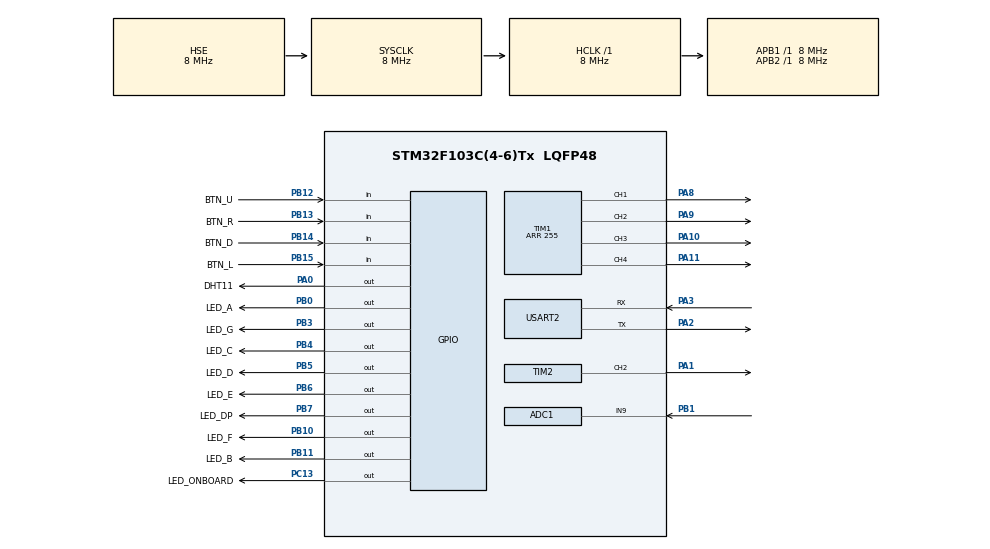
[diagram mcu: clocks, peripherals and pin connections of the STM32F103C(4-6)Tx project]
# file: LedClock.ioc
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ADC1.Channel-3\#ChannelRegularConversion=ADC_CHANNEL_9
ADC1.NbrOfConversionFlag=1
ADC1.Rank-3\#ChannelRegularConversion=1
ADC1.SamplingTime-3\#ChannelRegularConversion=ADC_SAMPLETIME_1CYCLE_5
ADC1.master=1
IWDG.Prescaler=IWDG_PRESCALER_64
IWDG.Reload=625
Mcu.Family=STM32F1
Mcu.Name=STM32F103C(4-6)Tx
Mcu.Package=LQFP48
NVIC.ADC1_2_IRQn=true\:0\:0\:false\:false\:true\:true\:true
NVIC.PriorityGroup=NVIC_PRIORITYGROUP_4
NVIC.RTC_IRQn=true\:0\:0\:false\:false\:true\:true\:true
NVIC.USART2_IRQn=true\:0\:0\:false\:false\:true\:true\:true
PA0-WKUP.GPIO_Label=DHT11
PA0-WKUP.GPIO_Speed=GPIO_SPEED_FREQ_HIGH
PA0-WKUP.Signal=GPIO_Output
PA1.Signal=S_TIM2_CH2
PA10.Signal=S_TIM1_CH3
PA11.Signal=S_TIM1_CH4
PA13.Mode=Serial_Wire
PA13.Signal=SYS_JTMS-SWDIO
PA14.Mode=Serial_Wire
PA14.Signal=SYS_JTCK-SWCLK
PA2.Mode=Asynchronous
PA2.Signal=USART2_TX
PA3.Mode=Asynchronous
PA3.Signal=USART2_RX
PA8.Signal=S_TIM1_CH1
PA9.Signal=S_TIM1_CH2
PB0.GPIO_Label=LED_A
PB0.Signal=GPIO_Output
PB1.Signal=ADCx_IN9
PB10.GPIO_Label=LED_F
PB10.Signal=GPIO_Output
PB11.GPIO_Label=LED_B
PB11.Signal=GPIO_Output
PB12.GPIO_Label=BTN_U
PB12.GPIO_Mode=GPIO_MODE_INPUT
PB12.GPIO_PuPd=GPIO_PULLUP
PB12.Signal=GPIO_Input
PB13.GPIO_Label=BTN_R
PB13.GPIO_Mode=GPIO_MODE_INPUT
PB13.GPIO_PuPd=GPIO_PULLUP
PB13.Signal=GPIO_Input
PB14.GPIO_Label=BTN_D
PB14.GPIO_Mode=GPIO_MODE_INPUT
PB14.GPIO_PuPd=GPIO_PULLUP
PB14.Signal=GPIO_Input
PB15.GPIO_Label=BTN_L
PB15.GPIO_Mode=GPIO_MODE_INPUT
PB15.GPIO_PuPd=GPIO_PULLUP
PB15.Signal=GPIO_Input
PB3.GPIO_Label=LED_G
PB3.Signal=GPIO_Output
PB4.GPIO_Label=LED_C
PB4.Signal=GPIO_Output
PB5.GPIO_Label=LED_D
PB5.Signal=GPIO_Output
PB6.GPIO_Label=LED_E
PB6.Signal=GPIO_Output
PB7.GPIO_Label=LED_DP
PB7.Signal=GPIO_Output
PC13-TAMPER-RTC.GPIO_Label=LED_ONBOARD
PC13-TAMPER-RTC.PinState=GPIO_PIN_RESET
PC13-TAMPER-RTC.Signal=GPIO_Output
PC14-OSC32_IN.Mode=LSE-External-Oscillator
PC14-OSC32_IN.Signal=RCC_OSC32_IN
PC15-OSC32_OUT.Mode=LSE-External-Oscillator
PC15-OSC32_OUT.Signal=RCC_OSC32_OUT
PD0-OSC_IN.Mode=HSE-External-Oscillator
PD0-OSC_IN.Signal=RCC_OSC_IN
PD1-OSC_OUT.Mode=HSE-External-Oscillator
PD1-OSC_OUT.Signal=RCC_OSC_OUT
ProjectManager.HeapSize=0x200
ProjectManager.StackSize=0x400
ProjectManager.TargetToolchain=Makefile
RCC.AHBFreq_Value=8000000
RCC.APB1Freq_Value=8000000
RCC.APB1TimFreq_Value=8000000
RCC.APB2Freq_Value=8000000
RCC.APB2TimFreq_Value=8000000
RCC.HCLKFreq_Value=8000000
RCC.RTCClockSelection=RCC_RTCCLKSOURCE_LSE
RCC.SYSCLKFreq_VALUE=8000000
RCC.SYSCLKSource=RCC_SYSCLKSOURCE_HSE
RCC.USBFreq_Value=8000000
RTC.Date=9
RTC.Hours=6
RTC.Minutes=30
RTC.OutPut=RTC_OUTPUTSOURCE_SECOND
RTC.Year=21
SH.ADCx_IN9.0=ADC1_IN9,IN9
SH.S_TIM1_CH1.0=TIM1_CH1,PWM Generation1 CH1
SH.S_TIM1_CH2.0=TIM1_CH2,PWM Generation2 CH2
SH.S_TIM1_CH3.0=TIM1_CH3,PWM Generation3 CH3
SH.S_TIM1_CH4.0=TIM1_CH4,PWM Generation4 CH4
SH.S_TIM2_CH2.0=TIM2_CH2,PWM Generation2 CH2
TIM1.Channel-PWM\ Generation1\ CH1=TIM_CHANNEL_1
TIM1.Channel-PWM\ Generation2\ CH2=TIM_CHANNEL_2
TIM1.Channel-PWM\ Generation3\ CH3=TIM_CHANNEL_3
TIM1.Channel-PWM\ Generation4\ CH4=TIM_CHANNEL_4
TIM1.OCIdleState_1=TIM_OCIDLESTATE_SET
TIM1.OCIdleState_2=TIM_OCIDLESTATE_SET
TIM1.OCIdleState_3=TIM_OCIDLESTATE_SET
TIM1.OCIdleState_4=TIM_OCIDLESTATE_SET
TIM1.OCMode_PWM-PWM\ Generation1\ CH1=TIM_OCMODE_PWM1
TIM1.OCMode_PWM-PWM\ Generation2\ CH2=TIM_OCMODE_PWM1
TIM1.OCMode_PWM-PWM\ Generation3\ CH3=TIM_OCMODE_PWM1
TIM1.OCMode_PWM-PWM\ Generation4\ CH4=TIM_OCMODE_PWM1
TIM1.OCPolarity_1=TIM_OCPOLARITY_HIGH
TIM1.OCPolarity_2=TIM_OCPOLARITY_HIGH
TIM1.OCPolarity_3=TIM_OCPOLARITY_HIGH
TIM1.OCPolarity_4=TIM_OCPOLARITY_HIGH
TIM1.Period=255
TIM1.Pulse-PWM\ Generation1\ CH1=255
TIM1.Pulse-PWM\ Generation2\ CH2=255
TIM1.Pulse-PWM\ Generation3\ CH3=255
TIM1.Pulse-PWM\ Generation4\ CH4=255
TIM2.Channel-PWM\ Generation2\ CH2=TIM_CHANNEL_2
TIM2.Period=0xc00
TIM2.Pulse-PWM\ Generation2\ CH2=0x600
TIM3.Period=1000
TIM3.Prescaler=8000-1
USART2.VirtualMode=VM_ASYNC
VP_IWDG_VS_IWDG.Mode=IWDG_Activate
VP_RTC_VS_RTC_Activate.Mode=RTC_Enabled
VP_RTC_VS_RTC_Calendar.Mode=RTC_Calendar
VP_TIM3_VS_ClockSourceINT.Mode=Internal
board=custom

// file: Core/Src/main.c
/* USER CODE BEGIN Header */
/**
 ******************************************************************************
 * @file           : main.c
 * @brief          : Main program body
 ******************************************************************************
 * @attention
 *
 * <h2><center>&copy; Copyright (c) 2021 STMicroelectronics.
 * All rights reserved.</center></h2>
 *
 * This software component is licensed by ST under BSD 3-Clause license,
 * the "License"; You may not use this file except in compliance with the
 * License. You may obtain a copy of the License at:
 *                        opensource.org/licenses/BSD-3-Clause
 *
 ******************************************************************************
 */
/* USER CODE END Header */
#include "main.h"
#include "adc.h"
#include "iwdg.h"
#include "rtc.h"
#include "tim.h"
#include "usart.h"
#include "gpio.h"

/* USER CODE BEGIN Includes */
#include <string.h>
/* USER CODE END Includes */

/* USER CODE BEGIN PTD */
typedef unsigned char BOOL;
/* USER CODE END PTD */

/* USER CODE BEGIN PD */
#define TRUE 1
#define FALSE 0

#define LED_DIG1_CH TIM_CHANNEL_3
#define LED_DIG2_CH TIM_CHANNEL_2
#define LED_DIG3_CH TIM_CHANNEL_1
#define LED_DIG4_CH TIM_CHANNEL_4

#define KEY_ID_L 0
#define KEY_ID_R 1
#define KEY_ID_U 2
#define KEY_ID_D 3

#define KEY_L key_state[KEY_ID_L]
#define KEY_R key_state[KEY_ID_R]
#define KEY_U key_state[KEY_ID_U]
#define KEY_D key_state[KEY_ID_D]

#define KEY_MODE_ONCE 0
#define KEY_MODE_LONG 1
#define KEY_MODE_LONG_ACC 2

#define MUSIC_NYAN_CAT 1
#define MUSIC_ONLY_MY_RAILGUN 2
#define MUSIC_ZENBON_ZAKURA 3

#define LOOP_CYCLE_MS 20

#define PAGE_HOME 0
// #define PAGE_MS 1
#define PAGE_ALARM 2
#define PAGE_MENU 3
#define PAGE_SET_TIME 4
#define PAGE_TEMP_HUMI 5
#define PAGE_SET_ALARM 6
#define PAGE_MUSIC 7
#define PAGE_STOPWATCH 8
#define PAGE_COUNTDOWN 9

#define SCREEN_HM 0
#define SCREEN_MS 1
#define SCREEN_SM 2
/* USER CODE END PD */

/* USER CODE BEGIN PV */
uint16_t display_buffer[4];
int brightness, current_light;
BOOL uart_key_req[4];
BOOL key_state[4];

int second_timestamp = 0;

int page;

uint8_t temp = 20, humi = 68;

BOOL enable_alarm;
RTC_TimeTypeDef alarm_time;
RTC_TimeTypeDef sTime;
int alarm_music;
/* USER CODE END PV */

void SystemClock_Config(void);
/* USER CODE BEGIN PFP */
static void delay_us(uint32_t us);

static uint16_t LED_GetFont(char ch);
static void LED_Flush();

static void Display_SetChar(const char *chs, BOOL colon);
static void Display_SetInt(int x);
static void Display_SetCurrentTimeHM();
static void Display_SetCurrentTimeMS();
static void Display_SetTimestamp(int timestamp, int screen);

static void Alarm_SetState(BOOL is_on, uint16_t period);
static void Alarm_Load();
static void Alarm_Save();
static void Alarm_InitMusic(int id);
static void Alarm_TickMusic();
static void Alarm_StopMusic();

void DHT11_Start(void);
static void DHT11_Run();

static void Keys_Tick();
static void Keys_SetMode(int key, uint8_t mode);

static void Light_Tick();

void UART_Init();
void UART_Write_Text(const char *text);
void UART_Write_NewLine();
void UART_Write_Int(int x);
void UART_Flush();
void UART_OnData();

static void App_Tick();
static void App_HomePage();
// static void App_MSPage();
static void App_AlarmPage();
static void App_MenuPage();
static void App_SetTimePage();
static void App_TempHumiPage();
static void App_SetAlarmPage();
static void App_MusicPage();
static void App_StopwatchPage();
static void App_CountdownPage();
/* USER CODE END PFP */

int main(void)
{

  /* MCU Configuration--------------------------------------------------------*/

  /* Reset of all peripherals, Initializes the Flash interface and the Systick. */
  HAL_Init();

  /* Configure the system clock */
  SystemClock_Config();

    /* Initialize all configured peripherals */

    // Add comment
    MX_GPIO_Init();
    MX_ADC1_Init();
    MX_RTC_Init();
    MX_TIM1_Init();
    MX_TIM2_Init();
    MX_USART2_UART_Init();
    MX_TIM3_Init();
    MX_IWDG_Init();
    /* USER CODE BEGIN 2 */
    HAL_TIM_Base_Start(&htim3);
    UART_Init();
    HAL_ADCEx_Calibration_Start(&hadc1);
    DHT11_Start();
    Alarm_Load();
    HAL_RTC_GetTime(&hrtc, &sTime, RTC_FORMAT_BCD);
    HAL_RTCEx_SetSecond_IT(&hrtc);
    UART_Write_Text("---LedClock---");
    UART_Flush();

    brightness = 0;
    page = PAGE_HOME;
    HAL_TIM_PWM_Start(&htim1, TIM_CHANNEL_1);
    HAL_TIM_PWM_Start(&htim1, TIM_CHANNEL_2);
    HAL_TIM_PWM_Start(&htim1, TIM_CHANNEL_3);
    HAL_TIM_PWM_Start(&htim1, TIM_CHANNEL_4);

  /* USER CODE END 2 */

  /* Infinite loop */
    while (1) {

    /* USER CODE BEGIN 3 */
        Keys_Tick();
        Light_Tick();
        App_Tick();
        LED_Flush();
        UART_Flush();
        HAL_IWDG_Refresh(&hiwdg);
    }
  /* USER CODE END 3 */
}

void SystemClock_Config(void)
{
  RCC_OscInitTypeDef RCC_OscInitStruct = {0};
  RCC_ClkInitTypeDef RCC_ClkInitStruct = {0};
  RCC_PeriphCLKInitTypeDef PeriphClkInit = {0};

  /** Initializes the RCC Oscillators according to the specified parameters
  * in the RCC_OscInitTypeDef structure.
  */
  RCC_OscInitStruct.OscillatorType = RCC_OSCILLATORTYPE_LSI|RCC_OSCILLATORTYPE_HSE
                              |RCC_OSCILLATORTYPE_LSE;
  RCC_OscInitStruct.HSEState = RCC_HSE_ON;
  RCC_OscInitStruct.LSEState = RCC_LSE_ON;
  RCC_OscInitStruct.LSIState = RCC_LSI_ON;
  RCC_OscInitStruct.PLL.PLLState = RCC_PLL_NONE;
  if (HAL_RCC_OscConfig(&RCC_OscInitStruct) != HAL_OK)
  {
    Error_Handler();
  }
  /** Initializes the CPU, AHB and APB buses clocks
  */
  RCC_ClkInitStruct.ClockType = RCC_CLOCKTYPE_HCLK|RCC_CLOCKTYPE_SYSCLK
                              |RCC_CLOCKTYPE_PCLK1|RCC_CLOCKTYPE_PCLK2;
  RCC_ClkInitStruct.SYSCLKSource = RCC_SYSCLKSOURCE_HSE;
  RCC_ClkInitStruct.AHBCLKDivider = RCC_SYSCLK_DIV1;
  RCC_ClkInitStruct.APB1CLKDivider = RCC_HCLK_DIV1;
  RCC_ClkInitStruct.APB2CLKDivider = RCC_HCLK_DIV1;

  if (HAL_RCC_ClockConfig(&RCC_ClkInitStruct, FLASH_LATENCY_0) != HAL_OK)
  {
    Error_Handler();
  }
  PeriphClkInit.PeriphClockSelection = RCC_PERIPHCLK_RTC|RCC_PERIPHCLK_ADC;
  PeriphClkInit.RTCClockSelection = RCC_RTCCLKSOURCE_LSE;
  PeriphClkInit.AdcClockSelection = RCC_ADCPCLK2_DIV2;
  if (HAL_RCCEx_PeriphCLKConfig(&PeriphClkInit) != HAL_OK)
  {
    Error_Handler();
  }
}

/* USER CODE BEGIN 4 */

/* -------------------------------------------------------------------------- */
/*                                    TIMER                                   */
/* -------------------------------------------------------------------------- */

void HAL_RTCEx_RTCEventCallback(RTC_HandleTypeDef *hrtc) {
    HAL_RTC_GetTime(hrtc, &sTime, RTC_FORMAT_BCD);
    __HAL_TIM_SetCounter(&htim3, 0);
    second_timestamp++;
    if (second_timestamp > 100000 && page != PAGE_STOPWATCH &&
        page != PAGE_COUNTDOWN) {
        second_timestamp = 0;
    }
}

/* -------------------------------------------------------------------------- */
/*                               LED AND DISPLAY                              */
/* -------------------------------------------------------------------------- */

static uint16_t LED_GetFont(char ch) {
    switch (ch) {
        case '0':
            return LED_A_Pin | LED_B_Pin | LED_C_Pin | LED_D_Pin | LED_E_Pin |
                   LED_F_Pin;
        case '1':
            return LED_B_Pin | LED_C_Pin;
        case '2':
            return LED_A_Pin | LED_B_Pin | LED_G_Pin | LED_E_Pin | LED_D_Pin;
        case '3':
            return LED_A_Pin | LED_B_Pin | LED_C_Pin | LED_D_Pin | LED_G_Pin;
        case '4':
            return LED_F_Pin | LED_G_Pin | LED_B_Pin | LED_C_Pin;
        case '5':
            return LED_A_Pin | LED_F_Pin | LED_G_Pin | LED_C_Pin | LED_D_Pin;
        case '6':
            return LED_A_Pin | LED_F_Pin | LED_G_Pin | LED_C_Pin | LED_E_Pin |
                   LED_D_Pin;
        case '7':
            return LED_A_Pin | LED_B_Pin | LED_C_Pin;
        case '8':
            return LED_A_Pin | LED_B_Pin | LED_C_Pin | LED_D_Pin | LED_E_Pin |
                   LED_F_Pin | LED_G_Pin;
        case '9':
            return LED_A_Pin | LED_B_Pin | LED_C_Pin | LED_D_Pin | LED_F_Pin |
                   LED_G_Pin;
        case '_':
            return LED_D_Pin;
        default:
            return 0;
    }
}

static void LED_ShowPos(uint16_t channel, uint16_t ch_pin, uint32_t delay) {
    __HAL_TIM_SET_COMPARE(&htim1, channel, brightness);

    HAL_GPIO_WritePin(GPIOB, ch_pin, GPIO_PIN_SET);
    HAL_Delay(delay);
    HAL_GPIO_WritePin(GPIOB, ch_pin, GPIO_PIN_RESET);

    __HAL_TIM_SET_COMPARE(&htim1, channel, 255);
}

static void LED_Flush() {
    for (int i = 0; i < 5; i++) {
        LED_ShowPos(LED_DIG1_CH, display_buffer[0], 1);
        LED_ShowPos(LED_DIG2_CH, display_buffer[1], 1);
        LED_ShowPos(LED_DIG3_CH, display_buffer[2], 1);
        LED_ShowPos(LED_DIG4_CH, display_buffer[3], 1);
    }
}

static void Display_SetChar(const char *chs, BOOL colon) {
    for (int i = 0; i < 4; i++) {
        display_buffer[i] = LED_GetFont(chs[i]);
    }
    if (colon) {
        display_buffer[1] |= LED_DP_Pin;
    }
}

static void Display_SetInt(int x) {
    display_buffer[3] = LED_GetFont(x % 10 + '0');
    x /= 10;
    display_buffer[2] = LED_GetFont(x % 10 + '0');
    x /= 10;
    display_buffer[1] = LED_GetFont(x % 10 + '0');
    x /= 10;
    display_buffer[0] = LED_GetFont(x % 10 + '0');
}

static void Display_SetCurrentTimeHM() {
    char buf[4] = {sTime.Hours / 16 + '0', sTime.Hours % 16 + '0',
                   sTime.Minutes / 16 + '0', sTime.Minutes % 16 + '0'};

    Display_SetChar(buf, sTime.Seconds & 1);
}

static void Display_SetCurrentTimeMS() {
    char buf[4] = {sTime.Minutes / 16 + '0', sTime.Minutes % 16 + '0',
                   sTime.Seconds / 16 + '0', sTime.Seconds % 16 + '0'};

    Display_SetChar(buf, TRUE);
}

static void Display_SetTimestamp(int timestamp, int screen) {
    char buf[4] = {0};
    int second = timestamp / 1000;
    int ms = timestamp % 1000;
    int hours = second / 3600;
    int minutes = (second % 3600) / 60;
    int seconds = second % 60;
    switch (screen) {
        case SCREEN_HM:
            buf[0] = hours / 10 + '0';
            buf[1] = hours % 10 + '0';
            buf[2] = minutes / 10 + '0';
            buf[3] = minutes % 10 + '0';
            Display_SetChar(buf, seconds & 1);
            break;
        case SCREEN_MS:
            buf[0] = minutes / 10 + '0';
            buf[1] = minutes % 10 + '0';
            buf[2] = seconds / 10 + '0';
            buf[3] = seconds % 10 + '0';
            Display_SetChar(buf, TRUE);
            break;
        case SCREEN_SM:
            buf[0] = seconds / 10 + '0';
            buf[1] = seconds % 10 + '0';
            buf[2] = ms / 100 + '0';
            buf[3] = (ms % 100) / 10 + '0';
            Display_SetChar(buf, TRUE);
            break;
    }
}

/* -------------------------------------------------------------------------- */
/*                                  KEY INPUT                                 */
/* -------------------------------------------------------------------------- */

uint8_t key_config[4];
static void Keys_Tick() {
    static int hits[4] = {0};
    static uint16_t keys[] = {BTN_L_Pin, BTN_R_Pin, BTN_U_Pin, BTN_D_Pin};
    for (int i = 0; i < 4; i++) {
        if (uart_key_req[i]) {
            key_state[i] = TRUE;
            uart_key_req[i] = FALSE;
            continue;
        }
        GPIO_PinState state = HAL_GPIO_ReadPin(GPIOB, keys[i]);
        if (state) {
            hits[i] = 0;
            key_state[i] = FALSE;
        } else {
            hits[i]++;
            switch (key_config[i]) {
                case KEY_MODE_ONCE:
                    if (hits[i] == 2) {
                        key_state[i] = TRUE;
                    } else {
                        key_state[i] = FALSE;
                    }
                    break;
                case KEY_MODE_LONG:
                    if (hits[i] == 2 || (hits[i] > 0 && hits[i] % 10 == 0)) {
                        key_state[i] = TRUE;
                    } else {
                        key_state[i] = FALSE;
                    }
                    break;
                case KEY_MODE_LONG_ACC:
                    if (hits[i] == 2 ||
                        (hits[i] >= 10 && hits[i] <= 50 && hits[i] % 10 == 0) ||
                        (hits[i] > 50 && hits[i] <= 100 && hits[i] % 4 == 0) ||
                        hits[i] > 100) {
                        key_state[i] = TRUE;
                    } else {
                        key_state[i] = FALSE;
                    }
                    break;
            }
        }
    }
}

static void Keys_SetMode(int key, uint8_t mode) { key_config[key] = mode; }

/* -------------------------------------------------------------------------- */
/*                                    USART                                   */
/* -------------------------------------------------------------------------- */

struct {
    char *tx_cur;
    char tx[256];
    char *rx_cur;
    char *rx_end;
    char rx[32];
} uart_buf;

void UART_Init() {
    uart_buf.tx_cur = uart_buf.tx;
    uart_buf.rx_cur = uart_buf.rx;
    uart_buf.rx_end = uart_buf.rx + 32;
    HAL_UART_Receive_IT(&huart2, uart_buf.rx_cur, 1);
}

void UART_Write_Text(const char *text) {
    while (*text != '\0') {
        *uart_buf.tx_cur = *text;
        text++;
        uart_buf.tx_cur++;
    }
}
void UART_Write_NewLine() { UART_Write_Text("\n"); }
void UART_Write_Int(int x) {
    if (x < 0) {
        *uart_buf.tx_cur = '-';
        uart_buf.tx_cur++;
        UART_Write_Int(-x);
        return;
    }
    if (x >= 10) {
        UART_Write_Int(x / 10);
    }
    *uart_buf.tx_cur = x % 10 + '0';
    uart_buf.tx_cur++;
}

void UART_Write_Time(RTC_TimeTypeDef *time) {
    UART_Write_Int(time->Hours >> 4);
    UART_Write_Int(time->Hours % 16);
    UART_Write_Text(":");
    UART_Write_Int(time->Minutes >> 4);
    UART_Write_Int(time->Minutes % 16);
    UART_Write_Text(":");
    UART_Write_Int(time->Seconds >> 4);
    UART_Write_Int(time->Seconds % 16);
}

BOOL UART_Parse_Time(int x, RTC_TimeTypeDef *time) {
    int digits[6] = {0};
    for (int i = 0; i < 6; i++) {
        digits[i] = x % 10;
        x /= 10;
    }
    if (digits[5] * 10 + digits[4] < 24 && digits[3] * 10 + digits[2] < 60 &&
        digits[1] * 10 + digits[0] < 60) {
        time->Seconds = (digits[1] << 4) + digits[0];
        time->Minutes = (digits[3] << 4) + digits[2];
        time->Hours = (digits[5] << 4) + digits[4];
        return TRUE;
    } else {
        return FALSE;
    }
}

void UART_Flush() {
    if (uart_buf.tx_cur > uart_buf.tx) {
        HAL_UART_Transmit_IT(&huart2, uart_buf.tx,
                             uart_buf.tx_cur - uart_buf.tx);
        uart_buf.tx_cur = uart_buf.tx;
    }
}

void HAL_UART_RxCpltCallback(UART_HandleTypeDef *huart) {
    if (*uart_buf.rx_cur == '#') {
        UART_OnData();
        uart_buf.rx_cur = uart_buf.rx;
    } else {
        uart_buf.rx_cur++;
        if (uart_buf.rx_cur >= uart_buf.rx_end) {
            UART_Write_Text("Uart RX buffer overflow!");
            UART_Flush();
            uart_buf.rx_cur = uart_buf.rx;
        }
    }
    HAL_UART_Receive_IT(&huart2, uart_buf.rx_cur, 1);
}

void UART_OnData() {
    int x = 0;
    char *cur = uart_buf.rx;
    char command = *cur;
    cur++;
    while (*cur >= '0' && *cur <= '9') {
        x *= 10;
        x += *cur - '0';
        cur++;
    }
    switch (command) {
        case 'T':
            if (UART_Parse_Time(x, &sTime)) {
                HAL_RTC_SetTime(&hrtc, &sTime, RTC_FORMAT_BCD);
                UART_Write_Text("Time set to ");
                UART_Write_Time(&sTime);
            } else {
                UART_Write_Text("Illegal time.");
            }
            break;
        case 'A':
            if (UART_Parse_Time(x, &alarm_time)) {
                Alarm_Save();
                UART_Write_Text("Alarm set to ");
                UART_Write_Time(&alarm_time);
            } else {
                UART_Write_Text("Illegal time.");
            }
            break;
        case 'I':
            UART_Write_Text("Current time: ");
            UART_Write_Time(&sTime);
            UART_Write_NewLine();
            UART_Write_Text("Alarm time: ");
            UART_Write_Time(&alarm_time);
            UART_Write_NewLine();
            UART_Write_Text("Alarm enabled: ");
            if (enable_alarm) {
                UART_Write_Text("true");
            } else {
                UART_Write_Text("false");
            }
            UART_Write_NewLine("Current light: ");
            UART_Write_Int(current_light);
            break;
        case 'H':
            DHT11_Run();
            break;
        case 'K':
            if (x >= 0 && x < 4) {
                uart_key_req[x] = TRUE;
                UART_Write_Text("Key pressed.");
            } else {
                UART_Write_Text("Unknown key.");
            }
            break;
        default:
            UART_Write_Text("Unknown command.");
            break;
    }
    UART_Write_NewLine();
}

/* -------------------------------------------------------------------------- */
/*                             BRIGHTNESS CONTROL                             */
/* -------------------------------------------------------------------------- */

static void Light_Tick() {
    int expected = (current_light / 16);
    if (expected > 240) {
        expected = 240;
    }
    if (brightness < expected) {
        brightness++;
    } else if (brightness > expected) {
        brightness--;
    }
    static int hits = 0;
    hits++;
    if (hits >= 50) {
        hits = 0;
        HAL_ADC_Start_IT(&hadc1);
    }
}

void HAL_ADC_ConvCpltCallback(ADC_HandleTypeDef *hadc) {
    // Read & Update The ADC Result
    current_light = HAL_ADC_GetValue(hadc);
}

/* -------------------------------------------------------------------------- */
/*                                    ALARM                                   */
/* -------------------------------------------------------------------------- */

static void Alarm_SetState(BOOL is_on, uint16_t period) {
    static BOOL ring_flag = FALSE;
    static uint16_t last_period = 0;
    if (period != last_period) {
        __HAL_TIM_SetCounter(&htim2, 0);
        __HAL_TIM_SET_AUTORELOAD(&htim2, period);
        __HAL_TIM_SET_COMPARE(&htim2, TIM_CHANNEL_2, (period >> 1));
        last_period = period;
    }
    if (is_on && !ring_flag) {
        HAL_TIM_PWM_Start(&htim2, TIM_CHANNEL_2);
        ring_flag = 1;
        HAL_GPIO_WritePin(LED_ONBOARD_GPIO_Port, LED_ONBOARD_Pin, GPIO_PIN_SET);
        return;
    }
    if (!is_on && ring_flag) {
        HAL_TIM_PWM_Stop(&htim2, TIM_CHANNEL_2);
        HAL_GPIO_WritePin(LED_ONBOARD_GPIO_Port, LED_ONBOARD_Pin, GPIO_PIN_RESET);
        ring_flag = 0;
        return;
    }
}

static void Alarm_Load() {
    uint32_t state1 = HAL_RTCEx_BKUPRead(&hrtc, RTC_BKP_DR2);
    uint32_t state2 = HAL_RTCEx_BKUPRead(&hrtc, RTC_BKP_DR3);
    uint32_t state3 = HAL_RTCEx_BKUPRead(&hrtc, RTC_BKP_DR4);
    if (state1 == 0 || (state1 & 0xFF) == 0) {
        enable_alarm = FALSE;
    } else {
        enable_alarm = TRUE;
    }
    alarm_time.Hours = (state2 >> 8) & 0xFF;
    alarm_time.Minutes = state2 & 0xFF;
    alarm_time.Seconds = (state1 >> 8) & 0xFF;

    alarm_music = state3 & 0xFF;
}

static void Alarm_Save() {
    uint32_t state1 = 0;
    uint32_t state2 = 0;
    uint32_t state3 = alarm_music;
    if (enable_alarm) state1 |= 0x01;
    state1 |= alarm_time.Seconds << 8;
    state2 |= alarm_time.Minutes;
    state2 |= alarm_time.Hours << 8;
    HAL_RTCEx_BKUPWrite(&hrtc, RTC_BKP_DR2, state1);
    HAL_RTCEx_BKUPWrite(&hrtc, RTC_BKP_DR3, state2);
    HAL_RTCEx_BKUPWrite(&hrtc, RTC_BKP_DR4, state3);
}

#define NYAN_CAT_LENGTH 32
#define NYAN_CAT_SPEED 3
uint32_t nyan_cat_data[] = {
    0xd1e1ab18, 0x98717191, 0xa19879bd, 0xebd9b797, 0xb1d1ebd9, 0xb7ab9879,
    0xa1789d9a, 0x87917191, 0xd1e1ab18, 0x98717191, 0xa19879bd, 0xebd9b797,
    0xb1d1ebd9, 0xb7ab9879, 0xa1789d9a, 0x87917171, 0x71457145, 0x79b7cbcd,
    0x71714574, 0xcb973234, 0x71457145, 0x779b7454, 0x71767457, 0xcbcd7161,
    0x71457145, 0x79b7cbcd, 0x71714574, 0xcb973234, 0x71457145, 0x779b7454,
    0x71767457, 0xcbcd7191,
};

#define ONLY_MY_RAILGUN_LENGTH 32
#define ONLY_MY_RAILGUN_SPEED 3
uint32_t only_my_railgun_data[] = {
    0x21031021, 0x00716141, 0x41551141, 0x41551141, 0x41551151, 0x51617191,
    0x61114111, 0xc1119111, 0x911911b1, 0x00716141, 0x41551141, 0x41551141,
    0x41551151, 0x51617191, 0x51111111, 0x51617191, 0x61141121, 0x00716141,
    0x41551141, 0x41551141, 0x41551151, 0x51617191, 0x51111111, 0x51617191,
    0x61114111, 0x21114111, 0x41551171, 0x61421141, 0x41551111, 0x11111111,
    0x11111111, 0x11111111,
};

uint16_t note_period_b[] = {
    0,     0,     25723, 24242, 21621, 19277, 17167, 16194,
    15238, 14440, 13628, 12861, 12139, 10810, 9638,
};

#define ZENBON_ZAKURA_LENGTH 80
#define ZENBON_ZAKURA_SPEED 2
uint32_t zenbon_zakura_data[] = {
    0x91a16565, 0x91a16565, 0x91a16565, 0x81716151, 0x91a16565, 0x91a16565,
    0x91a1c1f1, 0xefedc1a1, 0x91a16565, 0x91a16565, 0x91a16565, 0x81716151,
    0xa9acdca9, 0x6181a1c1, 0xd1d111c1, 0xd1111111, 0x61116115, 0x618191a1,
    0x61116115, 0x61513151, 0x61116115, 0x618191a1, 0xa1119111, 0x81116111,
    0x61116115, 0x618191a1, 0x61116115, 0x61513151, 0x61116115, 0x51618191,
    0xa1119111, 0x81116111, 0x81117111, 0x61115111, 0x51563121, 0x31111111,
    0x31516111, 0x91117111, 0x81117151, 0x61111111, 0x81117111, 0x61115111,
    0x51563121, 0x31113151, 0x61611161, 0x81119111, 0x71111111, 0x11116181,
    0x911911a1, 0xa11111a1, 0xc1d19181, 0xa1116181, 0x919111a1, 0xa111a1a1,
    0xb1a19181, 0x81116181, 0x911911a1, 0xa11111a1, 0xc1d19181, 0xa1116181,
    0xb111a111, 0x91118111, 0x81917151, 0x61116181, 0x911911a1, 0xa11111a1,
    0xc1d19181, 0xa1116181, 0x919111a1, 0xa111a1a1, 0xb1a19181, 0x81116181,
    0x911911a1, 0xa11111a1, 0xc1d19181, 0xa1116181, 0xb111a111, 0x91118111,
    0x9181a1c1, 0xd1111111,

};

uint16_t note_period_f[] = {0,     0,     20408, 18181, 17167, 15296,
                            13628, 12139, 11461, 10204, 9090,  8583,
                            7648,  6808,  6065,  5726};

int music_alt, music_tick, music_speed;
uint32_t *music_ptr;
uint32_t *music_end;
uint16_t *note_period;
int last_note;
static void Alarm_InitMusic(int id) {
    music_alt = music_tick = 0;
    last_note = 2;
    switch (id) {
        case MUSIC_NYAN_CAT:
            music_ptr = nyan_cat_data;
            music_end = nyan_cat_data + NYAN_CAT_LENGTH;
            music_speed = NYAN_CAT_SPEED;
            note_period = note_period_b;
            break;
        case MUSIC_ONLY_MY_RAILGUN:
            music_ptr = only_my_railgun_data;
            music_end = only_my_railgun_data + ONLY_MY_RAILGUN_LENGTH;
            music_speed = ONLY_MY_RAILGUN_SPEED;
            note_period = note_period_b;
            break;
        case MUSIC_ZENBON_ZAKURA:
            music_ptr = zenbon_zakura_data;
            music_end = zenbon_zakura_data + ZENBON_ZAKURA_LENGTH;
            music_speed = ZENBON_ZAKURA_SPEED;
            note_period = note_period_f;
            break;
        default:
            music_ptr = NULL;
            break;
    }
}
static void Alarm_TickMusic() {
    if (music_ptr == NULL || music_ptr >= music_end) {
        Alarm_StopMusic();
        return;
    };
    music_tick++;
    if (music_tick % music_speed == 0) {
        music_alt++;
        if (music_alt >= 8) {
            music_alt = 0;
            music_ptr++;
            if (music_ptr >= music_end) {
                Alarm_StopMusic();
                return;
            }
        }
    }
    int cur = ((*music_ptr) >> ((7 - music_alt) * 4)) & 0xF;
    if (cur == 0) {
        Alarm_SetState(FALSE, note_period[last_note]);
    } else if (cur == 1) {
        Alarm_SetState(TRUE, note_period[last_note]);
    } else {
        if (music_tick % music_speed != 0) {
            Alarm_SetState(TRUE, note_period[cur]);
            last_note = cur;
        } else {
            Alarm_SetState(FALSE, note_period[cur]);
        }
    }
}
static void Alarm_StopMusic() {
    Alarm_SetState(FALSE, 0xC00);
    music_ptr = NULL;
}

/* -------------------------------------------------------------------------- */
/*                                    DHT11                                   */
/* -------------------------------------------------------------------------- */

static void delay_us(uint32_t us) {
    __IO uint32_t currentTicks = SysTick->VAL;
    /* Number of ticks per millisecond */
    const uint32_t tickPerMs = SysTick->LOAD + 1;
    /* Number of ticks to count */
    const uint32_t nbTicks = ((us - ((us > 0) ? 1 : 0)) * tickPerMs) / 1000;
    /* Number of elapsed ticks */
    uint32_t elapsedTicks = 0;
    __IO uint32_t oldTicks = currentTicks;
    do {
        currentTicks = SysTick->VAL;
        elapsedTicks += (oldTicks < currentTicks)
                            ? tickPerMs + oldTicks - currentTicks
                            : oldTicks - currentTicks;
        oldTicks = currentTicks;
    } while (nbTicks > elapsedTicks);
}

void Set_Pin_Output(GPIO_TypeDef *GPIOx, uint16_t GPIO_Pin) {
    GPIO_InitTypeDef GPIO_InitStruct = {0};
    GPIO_InitStruct.Pin = GPIO_Pin;
    GPIO_InitStruct.Mode = GPIO_MODE_OUTPUT_PP;
    GPIO_InitStruct.Speed = GPIO_SPEED_FREQ_LOW;
    HAL_GPIO_Init(GPIOx, &GPIO_InitStruct);
}

void Set_Pin_Input(GPIO_TypeDef *GPIOx, uint16_t GPIO_Pin) {
    GPIO_InitTypeDef GPIO_InitStruct = {0};
    GPIO_InitStruct.Pin = GPIO_Pin;
    GPIO_InitStruct.Mode = GPIO_MODE_INPUT;
    GPIO_InitStruct.Pull = GPIO_PULLUP;
    HAL_GPIO_Init(GPIOx, &GPIO_InitStruct);
}

void DHT11_Start(void) {
    Set_Pin_Output(DHT11_GPIO_Port, DHT11_Pin);
    HAL_GPIO_WritePin(DHT11_GPIO_Port, DHT11_Pin, 0);
    delay_us(18000);
    HAL_GPIO_WritePin(DHT11_GPIO_Port, DHT11_Pin, 1);
    delay_us(20);
    Set_Pin_Input(DHT11_GPIO_Port, DHT11_Pin);
}

int DHT11_WaitFor(int state) {
    int timer = 0;
    while (HAL_GPIO_ReadPin(DHT11_GPIO_Port, DHT11_Pin) != state) {
        delay_us(1);
        timer++;
        if (timer > 1000) {
            return 1;
        }
    }
    return 0;
}

uint8_t DHT11_Check_Response(void) {
    uint8_t Response = 0;

    delay_us(40);
    if (!(HAL_GPIO_ReadPin(DHT11_GPIO_Port, DHT11_Pin))) {
        delay_us(80);
        if ((HAL_GPIO_ReadPin(DHT11_GPIO_Port, DHT11_Pin)))
            Response = 1;
        else
            Response = -1;
    }
    if (DHT11_WaitFor(0)) return -1;

    return Response;
}

uint8_t DHT11_Read(void) {
    uint8_t i = 0, j = 0;
    for (j = 0; j < 8; j++) {
        if (DHT11_WaitFor(1)) return 0;
        delay_us(40);
        if (!(HAL_GPIO_ReadPin(DHT11_GPIO_Port, DHT11_Pin))) {
            i &= ~(1 << (7 - j));
        } else
            i |= (1 << (7 - j));
        if (DHT11_WaitFor(0)) return 0;
    }
    return i;
}

static void DHT11_Run() {
    DHT11_Start();
    int Presence = DHT11_Check_Response();
    if (Presence == 1) {
        uint8_t Rh_byte1 = DHT11_Read();
        uint8_t Rh_byte2 = DHT11_Read();
        uint8_t Temp_byte1 = DHT11_Read();
        uint8_t Temp_byte2 = DHT11_Read();
        uint8_t SUM = DHT11_Read();

        if (Rh_byte1 + Rh_byte2 + Temp_byte1 + Temp_byte2 != SUM) {
            UART_Write_Text("DHT11 validation failed.");
        }

        temp = Temp_byte1;
        humi = Rh_byte1;
        UART_Write_Text("Temp: ");
        UART_Write_Int(temp);
        UART_Write_NewLine();
        UART_Write_Text("RH: ");
        UART_Write_Int(humi);
    } else {
        UART_Write_Text("No response from DHT11");
    }
}

/* -------------------------------------------------------------------------- */
/*                                     APP                                    */
/* -------------------------------------------------------------------------- */

static void App_Tick() {
    switch (page) {
        case PAGE_HOME:
            App_HomePage();
            break;
        case PAGE_ALARM:
            App_AlarmPage();
            break;
        case PAGE_MENU:
            App_MenuPage();
            break;
        case PAGE_SET_TIME:
            App_SetTimePage();
            break;
        case PAGE_TEMP_HUMI:
            App_TempHumiPage();
            break;
        case PAGE_SET_ALARM:
            App_SetAlarmPage();
            break;
        case PAGE_MUSIC:
            App_MusicPage();
            break;
        case PAGE_STOPWATCH:
            App_StopwatchPage();
            break;
        case PAGE_COUNTDOWN:
            App_CountdownPage();
            break;
        default:
            page = PAGE_HOME;
            break;
    }
}

static void App_HomePage() {
    static int screen = 0;
    switch (screen) {
        case SCREEN_HM:
            Display_SetCurrentTimeHM();
            break;
        case SCREEN_MS:
            Display_SetCurrentTimeMS();
            break;
    }
    if (enable_alarm) {
        if (sTime.Hours == alarm_time.Hours &&
            sTime.Minutes == alarm_time.Minutes &&
            sTime.Seconds == alarm_time.Seconds) {
            page = PAGE_ALARM;
            return;
        }
    }
    if (KEY_R) {
        if (screen < 1) {
            screen++;
        } else {
            screen = 0;
        }
        return;
    }
    if (KEY_L) {
        if (screen > 0) {
            screen--;
        } else {
            screen = 1;
        }
    }
    if (KEY_U || KEY_D) {
        page = PAGE_MENU;
        return;
    }
}

BOOL App_MenuOption(int cursor) {
    switch (cursor) {
        case 0:
            page = PAGE_SET_TIME;
            break;
        case 1:
            page = PAGE_TEMP_HUMI;
            break;
        case 2:
            page = PAGE_COUNTDOWN;
            break;
        case 3:
            page = PAGE_STOPWATCH;
            break;
        case 4:
            enable_alarm = !enable_alarm;
            Alarm_Save();
            return FALSE;
        case 5:
            page = PAGE_SET_ALARM;
            break;
        case 6:
            page = PAGE_MUSIC;
            break;
        case 7:
            page = PAGE_HOME;
            break;
        default:
            return FALSE;
    }
    return TRUE;
}

static void App_MenuPage() {
    static int cursor = 0;
    if (cursor < 0 || cursor > 7) {
        cursor = 0;
    }
    display_buffer[0] = display_buffer[1] = display_buffer[2] =
        display_buffer[3] = 0;
    if (enable_alarm) display_buffer[0] |= LED_DP_Pin;
    if (cursor < 4) {
        display_buffer[cursor] |= LED_A_Pin;
        if (KEY_U) {
            if (App_MenuOption(cursor)) cursor = 0;
            return;
        }
        if (KEY_D) {
            cursor += 4;
            return;
        }
    } else {
        display_buffer[cursor - 4] |= LED_D_Pin;
        if (KEY_D) {
            if (App_MenuOption(cursor)) cursor = 0;
            return;
        }
        if (KEY_U) {
            cursor -= 4;
            return;
        }
    }
    if (KEY_L) {
        if (cursor > 0) cursor--;
        return;
    }
    if (KEY_R) {
        if (cursor < 7) cursor++;
    }
}

static void App_SetTimePage() {
    static int cursor = -1;
    static char buffer[4] = {0};
    if (cursor == -1) {
        buffer[0] = sTime.Hours / 16 + '0';
        buffer[1] = sTime.Hours % 16 + '0';
        buffer[2] = sTime.Minutes / 16 + '0';
        buffer[3] = sTime.Minutes % 16 + '0';
        cursor = 0;

        Keys_SetMode(KEY_ID_U, KEY_MODE_LONG);
        Keys_SetMode(KEY_ID_D, KEY_MODE_LONG);
    }

    if (sTime.Seconds & 1) {
        Display_SetChar(buffer, TRUE);
    } else {
        char buffer1[] = {0};
        buffer1[cursor] = buffer[cursor];
        Display_SetChar(buffer1, TRUE);
    }

    if (KEY_R) {
        if (cursor >= 3) {
            cursor = -1;
            sTime.Hours = ((buffer[0] - '0') << 4) + (buffer[1] - '0');
            sTime.Minutes = ((buffer[2] - '0') << 4) + (buffer[3] - '0');
            sTime.Seconds = 0x00;
            HAL_RTC_SetTime(&hrtc, &sTime, RTC_FORMAT_BCD);

            Keys_SetMode(KEY_ID_U, KEY_MODE_ONCE);
            Keys_SetMode(KEY_ID_D, KEY_MODE_ONCE);
            page = PAGE_HOME;
        } else {
            cursor++;
        }
        return;
    }
    if (KEY_L) {
        if (cursor <= 0) {
            cursor = -1;
            page = PAGE_HOME;
        } else {
            cursor--;
        }
        return;
    }
    if (KEY_U) {
        char upper = '0';
        switch (cursor) {
            case 0:
                upper = '2';
                break;
            case 1:
                if (buffer[0] == '2') {
                    upper = '3';
                } else {
                    upper = '9';
                }
                break;
            case 2:
                upper = '5';
                break;
            case 3:
                upper = '9';
                break;
        }
        if (buffer[cursor] < upper) {
            buffer[cursor]++;
            if (cursor == 0 && buffer[0] == '2' && buffer[1] > '3') {
                buffer[1] = '3';
            }
        }
        return;
    }
    if (KEY_D) {
        if (buffer[cursor] > '0') {
            buffer[cursor]--;
        }
    }
}

static void App_AlarmPage() {
    static BOOL ringing = FALSE;

    if (!ringing) {
        ringing = TRUE;
        Alarm_InitMusic(alarm_music);
    }

    if (alarm_music) {
        Alarm_TickMusic();
    }

    if (sTime.Seconds & 1) {
        Display_SetChar("8888", FALSE);
        if (alarm_music == 0) {
            Alarm_SetState(TRUE, 0xC00);
        }
    } else {
        Display_SetCurrentTimeHM();
        if (alarm_music == 0) {
            Alarm_SetState(FALSE, 0xC00);
        }
    }

    if (KEY_L || KEY_R || KEY_U || KEY_D ||
        (alarm_music && music_ptr == NULL)) {
        Alarm_StopMusic();
        ringing = FALSE;
        page = PAGE_HOME;
        return;
    }
}

static void App_TempHumiPage() {
    static int stage = 0;
    if (stage == 0) {
        DHT11_Run();
        stage = 1;
    }
    if (stage == 1) {
        Display_SetInt(temp);
    }
    if (stage == 2) {
        Display_SetInt(humi);
    }
    if (KEY_R) {
        stage++;
        if (stage > 2) {
            stage = 0;
            page = PAGE_HOME;
            return;
        }
    }
}

static void App_SetAlarmPage() {
    static int cursor = -1;
    static char buffer[4] = {0};
    if (cursor == -1) {
        buffer[0] = alarm_time.Hours / 16 + '0';
        buffer[1] = alarm_time.Hours % 16 + '0';
        buffer[2] = alarm_time.Minutes / 16 + '0';
        buffer[3] = alarm_time.Minutes % 16 + '0';
        cursor = 0;

        Keys_SetMode(KEY_ID_U, KEY_MODE_LONG);
        Keys_SetMode(KEY_ID_D, KEY_MODE_LONG);
    }

    if (sTime.Seconds & 1) {
        Display_SetChar(buffer, TRUE);
    } else {
        char buffer1[] = {0};
        buffer1[cursor] = buffer[cursor];
        Display_SetChar(buffer1, TRUE);
    }

    if (KEY_R) {
        if (cursor >= 3) {
            cursor = -1;
            alarm_time.Hours = ((buffer[0] - '0') << 4) + (buffer[1] - '0');
            alarm_time.Minutes = ((buffer[2] - '0') << 4) + (buffer[3] - '0');
            alarm_time.Seconds = 0x00;
            Alarm_Save();
            Keys_SetMode(KEY_ID_U, KEY_MODE_ONCE);
            Keys_SetMode(KEY_ID_D, KEY_MODE_ONCE);

            page = PAGE_HOME;
        } else {
            cursor++;
        }
        return;
    }
    if (KEY_L) {
        if (cursor <= 0) {
            cursor = -1;
            page = PAGE_HOME;
        } else {
            cursor--;
        }
        return;
    }
    if (KEY_U) {
        char upper = '0';
        switch (cursor) {
            case 0:
                upper = '2';
                break;
            case 1:
                if (buffer[0] == '2') {
                    upper = '3';
                } else {
                    upper = '9';
                }
                break;
            case 2:
                upper = '5';
                break;
            case 3:
                upper = '9';
                break;
        }
        if (buffer[cursor] < upper) {
            buffer[cursor]++;
            if (cursor == 0 && buffer[0] == '2' && buffer[1] > '3') {
                buffer[1] = '3';
            }
        }
        return;
    }
    if (KEY_D) {
        if (buffer[cursor] > '0') {
            buffer[cursor]--;
        }
    }
}

static void App_MusicPage() {
    Display_SetInt(alarm_music);
    Alarm_TickMusic();
    if (KEY_L) {
        page = PAGE_HOME;
        Alarm_StopMusic();
        return;
    }
    if (KEY_U) {
        if (alarm_music < 3) {
            alarm_music++;
            Alarm_Save();
        }
        return;
    }
    if (KEY_D) {
        if (alarm_music > 0) {
            alarm_music--;
            Alarm_Save();
        }
        return;
    }
    if (KEY_R) {
        Alarm_InitMusic(alarm_music);
        return;
    }
}

static void App_StopwatchPage() {
    static int start_timestamp = 0;
    static int time_passed = 0;
    static BOOL running = FALSE;
    static int screen = SCREEN_MS;
    int current_timestamp =
        second_timestamp * 1000 + __HAL_TIM_GetCounter(&htim3);
    if (running) {
        int total = current_timestamp - start_timestamp + time_passed;
        Display_SetTimestamp(total, screen);
    } else {
        Display_SetTimestamp(time_passed, screen);
    }
    switch (screen) {
        case SCREEN_HM:
            display_buffer[0] |= LED_DP_Pin;
            break;
        case SCREEN_MS:
            display_buffer[2] |= LED_DP_Pin;
            break;
        case SCREEN_SM:
            display_buffer[3] |= LED_DP_Pin;
            break;
    }
    if (KEY_L) {
        if (screen > 0) {
            screen--;
        }
        return;
    }
    if (KEY_R) {
        if (screen < 2) {
            screen++;
        }
        return;
    }
    if (KEY_U) {
        if (running) {
            running = FALSE;
            time_passed += current_timestamp - start_timestamp;
        } else {
            running = TRUE;
            start_timestamp = current_timestamp;
        }
        return;
    }
    if (KEY_D) {
        if (!running) {
            if (time_passed == 0) {
                page = PAGE_HOME;
            } else {
                time_passed = 0;
            }
        }
    }
}
static void App_CountdownPage() {
    static int stage = 0;
    static int hours = 0;
    static int minutes = 10;
    static int seconds = 0;

    static BOOL running = FALSE;
    static int start_timestamp = 0;
    static int remain_time = 0;
    static int screen = SCREEN_MS;

    if (stage <= 2) {
        Keys_SetMode(KEY_ID_U, KEY_MODE_LONG_ACC);
        Keys_SetMode(KEY_ID_D, KEY_MODE_LONG_ACC);
    } else {
        Keys_SetMode(KEY_ID_U, KEY_MODE_ONCE);
        Keys_SetMode(KEY_ID_D, KEY_MODE_ONCE);
    }
    int current_timestamp =
        second_timestamp * 1000 + __HAL_TIM_GetCounter(&htim3);
    char buf[4] = {0};
    switch (stage) {
        case 0:
            buf[0] = hours / 10 + '0';
            buf[1] = hours % 10 + '0';
            if (sTime.Seconds & 1) {
                buf[2] = minutes / 10 + '0';
                buf[3] = minutes % 10 + '0';
            }
            Display_SetChar(buf, TRUE);
            display_buffer[0] |= LED_DP_Pin;
            if (KEY_U) {
                if (hours < 99) hours++;
                return;
            }
            if (KEY_D) {
                if (hours > 0) hours--;
                return;
            }
            if (KEY_L) {
                page = PAGE_HOME;
                Keys_SetMode(KEY_ID_U, KEY_MODE_ONCE);
                Keys_SetMode(KEY_ID_D, KEY_MODE_ONCE);
                return;
            }
            if (KEY_R) {
                stage = 1;
                return;
            }
            break;
        case 1:
            if (sTime.Seconds & 1) {
                buf[0] = hours / 10 + '0';
                buf[1] = hours % 10 + '0';
            }
            buf[2] = minutes / 10 + '0';
            buf[3] = minutes % 10 + '0';
            Display_SetChar(buf, TRUE);
            display_buffer[0] |= LED_DP_Pin;
            if (KEY_U) {
                if (minutes < 59)
                    minutes++;
                else
                    minutes = 0;
                return;
            }
            if (KEY_D) {
                if (minutes > 0)
                    minutes--;
                else
                    minutes = 59;
                return;
            }
            if (KEY_L) {
                stage = 0;
                return;
            }
            if (KEY_R) {
                stage = 2;
                return;
            }
            break;
        case 2:
            if (sTime.Seconds & 1) {
                buf[0] = minutes / 10 + '0';
                buf[1] = minutes % 10 + '0';
            }
            buf[2] = seconds / 10 + '0';
            buf[3] = seconds % 10 + '0';
            Display_SetChar(buf, TRUE);
            display_buffer[2] |= LED_DP_Pin;
            if (KEY_U) {
                if (seconds < 59)
                    seconds++;
                else
                    seconds = 0;
                return;
            }
            if (KEY_D) {
                if (seconds > 0)
                    seconds--;
                else
                    seconds = 59;
                return;
            }
            if (KEY_L) {
                stage = 0;
                return;
            }
            if (KEY_R) {
                remain_time =
                    hours * 3600 * 1000 + minutes * 60 * 1000 + seconds * 1000;
                if (remain_time > 0) {
                    running = TRUE;
                    start_timestamp = current_timestamp;
                    Keys_SetMode(KEY_ID_U, KEY_MODE_ONCE);
                    Keys_SetMode(KEY_ID_D, KEY_MODE_ONCE);
                    stage = 3;
                }
                return;
            }
            break;
        case 3:
            if (running) {
                if (current_timestamp >= start_timestamp + remain_time) {
                    stage = 0;
                    page = PAGE_ALARM;
                    return;
                } else {
                    Display_SetTimestamp(
                        start_timestamp + remain_time - current_timestamp,
                        screen);
                }
            } else {
                Display_SetTimestamp(remain_time, screen);
            }
            switch (screen) {
                case SCREEN_HM:
                    display_buffer[0] |= LED_DP_Pin;
                    break;
                case SCREEN_MS:
                    display_buffer[2] |= LED_DP_Pin;
                    break;
                case SCREEN_SM:
                    display_buffer[3] |= LED_DP_Pin;
                    break;
            }
            if (KEY_L) {
                if (screen > 0) {
                    screen--;
                }
                return;
            }
            if (KEY_R) {
                if (screen < 2) {
                    screen++;
                }
                return;
            }
            if (KEY_U) {
                if (running) {
                    running = FALSE;
                    remain_time -= current_timestamp - start_timestamp;
                } else {
                    running = TRUE;
                    start_timestamp = current_timestamp;
                }
                return;
            }
            if (KEY_D) {
                if (!running) {
                    stage = 0;
                    page = PAGE_HOME;
                }
            }
    }
}
/* USER CODE END 4 */

void Error_Handler(void)
{
  /* USER CODE BEGIN Error_Handler_Debug */
    /* User can add his own implementation to report the HAL error return state
     */
    __disable_irq();
    while (1) {
        HAL_Delay(500);
        HAL_GPIO_TogglePin(LED_ONBOARD_GPIO_Port, LED_ONBOARD_Pin);
    }
  /* USER CODE END Error_Handler_Debug */
}

#ifdef  USE_FULL_ASSERT
/**
  * @brief  Reports the name of the source file and the source line number
  *         where the assert_param error has occurred.
  * @param  file: pointer to the source file name
  * @param  line: assert_param error line source number
  * @retval None
  */
void assert_failed(uint8_t *file, uint32_t line)
{
  /* USER CODE BEGIN 6 */
    /* User can add his own implementation to report the file name and line
       number, ex: printf("Wrong parameters value: file %s on line %d\r\n",
       file, line) */
  /* USER CODE END 6 */
}
#endif /* USE_FULL_ASSERT */

/************************ (C) COPYRIGHT STMicroelectronics *****END OF FILE****/
